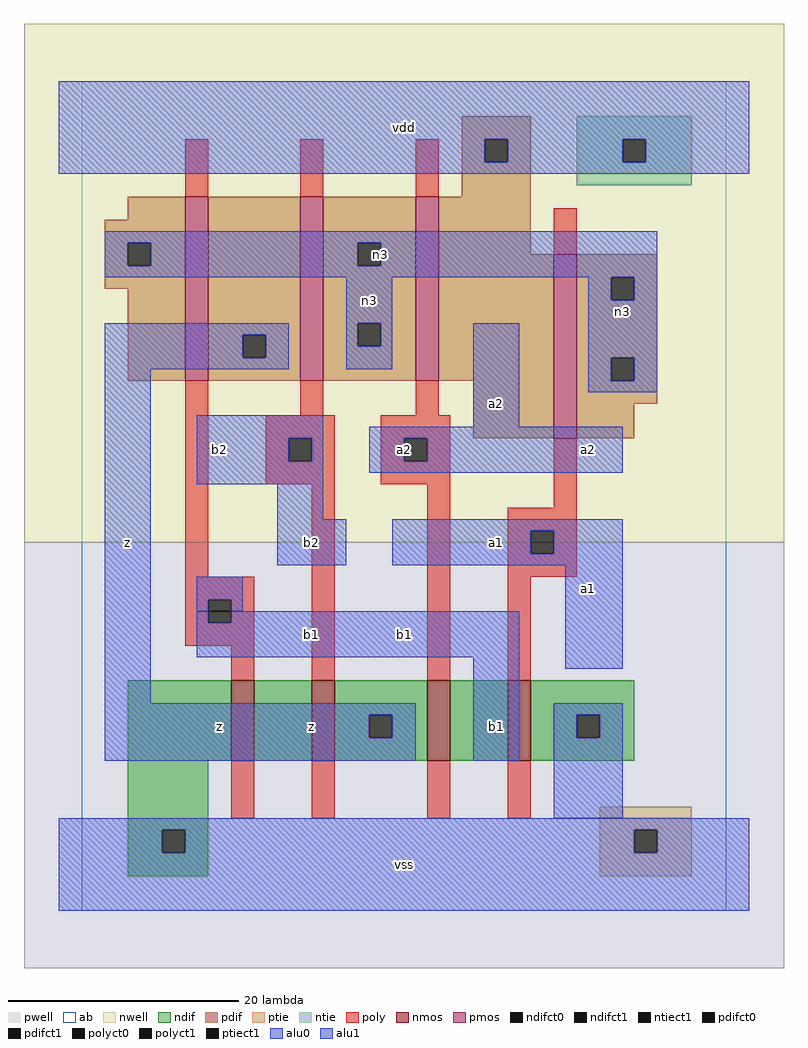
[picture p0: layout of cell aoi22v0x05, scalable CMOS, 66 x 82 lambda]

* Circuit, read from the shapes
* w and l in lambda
.subckt aoi22v0x05 a1 a2 b1 b2 n3 vdd vss z
M1 n1 b1 vss vss nfet w=7 l=2
M2 z b2 n1 vss nfet w=7 l=2
M3 n2 a2 z vss nfet w=7 l=2
M4 vss a1 n2 vss nfet w=7 l=2
M5 z b1 n3 vdd pfet w=16 l=2
M6 n3 b2 z vdd pfet w=16 l=2
M7 vdd a2 n3 vdd pfet w=16 l=2
M8 n3 a1 vdd vdd pfet w=16 l=2
.ends

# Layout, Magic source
magic
tech scmos
<< ab >>
rect 0 0 56 72
<< nwell >>
rect -5 32 61 77
<< pwell >>
rect -5 -5 61 32
<< poly >>
rect 9 62 11 67
rect 19 62 21 67
rect 29 62 31 67
rect 41 57 43 61
rect 9 29 11 46
rect 19 43 21 46
rect 29 43 31 46
rect 16 41 22 43
rect 16 39 18 41
rect 20 39 22 41
rect 16 37 22 39
rect 26 41 32 43
rect 26 39 28 41
rect 30 39 32 41
rect 26 37 32 39
rect 9 27 15 29
rect 9 25 11 27
rect 13 25 15 27
rect 9 23 15 25
rect 13 20 15 23
rect 20 20 22 37
rect 30 20 32 37
rect 41 35 43 41
rect 37 33 43 35
rect 37 31 39 33
rect 41 31 43 33
rect 37 29 43 31
rect 37 20 39 29
rect 13 8 15 13
rect 20 8 22 13
rect 30 8 32 13
rect 37 8 39 13
<< ndif >>
rect 4 13 13 20
rect 15 13 20 20
rect 22 17 30 20
rect 22 15 25 17
rect 27 15 30 17
rect 22 13 30 15
rect 32 13 37 20
rect 39 17 48 20
rect 39 15 43 17
rect 45 15 48 17
rect 39 13 48 15
rect 4 7 11 13
rect 4 5 7 7
rect 9 5 11 7
rect 4 3 11 5
<< pdif >>
rect 33 67 39 69
rect 33 65 35 67
rect 37 65 39 67
rect 33 62 39 65
rect 4 60 9 62
rect 2 58 9 60
rect 2 56 4 58
rect 6 56 9 58
rect 2 54 9 56
rect 4 46 9 54
rect 11 50 19 62
rect 11 48 14 50
rect 16 48 19 50
rect 11 46 19 48
rect 21 58 29 62
rect 21 56 24 58
rect 26 56 29 58
rect 21 51 29 56
rect 21 49 24 51
rect 26 49 29 51
rect 21 46 29 49
rect 31 57 39 62
rect 31 46 41 57
rect 34 41 41 46
rect 43 55 50 57
rect 43 53 46 55
rect 48 53 50 55
rect 43 48 50 53
rect 43 46 46 48
rect 48 46 50 48
rect 43 44 50 46
rect 43 41 48 44
<< alu1 >>
rect -2 67 58 72
rect -2 65 35 67
rect 37 65 47 67
rect 49 65 58 67
rect -2 64 58 65
rect 2 50 18 51
rect 2 48 14 50
rect 16 48 18 50
rect 2 47 18 48
rect 2 18 6 47
rect 10 41 21 43
rect 34 42 38 51
rect 10 39 18 41
rect 20 39 21 41
rect 10 37 21 39
rect 25 41 47 42
rect 25 39 28 41
rect 30 39 47 41
rect 25 38 47 39
rect 17 34 21 37
rect 17 30 23 34
rect 27 33 47 34
rect 27 31 39 33
rect 41 31 47 33
rect 27 30 47 31
rect 10 25 11 26
rect 13 25 38 26
rect 10 22 38 25
rect 2 17 29 18
rect 2 15 25 17
rect 27 15 29 17
rect 2 13 29 15
rect 34 13 38 22
rect 42 21 47 30
rect -2 7 58 8
rect -2 5 7 7
rect 9 5 48 7
rect 50 5 58 7
rect -2 0 58 5
<< ptie >>
rect 45 7 53 9
rect 45 5 48 7
rect 50 5 53 7
rect 45 3 53 5
<< ntie >>
rect 43 67 53 69
rect 43 65 47 67
rect 49 65 53 67
rect 43 63 53 65
<< nmos >>
rect 13 13 15 20
rect 20 13 22 20
rect 30 13 32 20
rect 37 13 39 20
<< pmos >>
rect 9 46 11 62
rect 19 46 21 62
rect 29 46 31 62
rect 41 41 43 57
<< polyct0 >>
rect 11 26 13 27
<< polyct1 >>
rect 18 39 20 41
rect 28 39 30 41
rect 11 25 13 26
rect 39 31 41 33
<< ndifct0 >>
rect 43 15 45 17
<< ndifct1 >>
rect 25 15 27 17
rect 7 5 9 7
<< ntiect1 >>
rect 47 65 49 67
<< ptiect1 >>
rect 48 5 50 7
<< pdifct0 >>
rect 4 56 6 58
rect 24 56 26 58
rect 24 49 26 51
rect 46 53 48 55
rect 46 46 48 48
<< pdifct1 >>
rect 35 65 37 67
rect 14 48 16 50
<< alu0 >>
rect 2 58 50 59
rect 2 56 4 58
rect 6 56 24 58
rect 26 56 50 58
rect 2 55 50 56
rect 23 51 27 55
rect 44 53 46 55
rect 48 53 50 55
rect 23 49 24 51
rect 26 49 27 51
rect 23 47 27 49
rect 44 48 50 53
rect 44 46 46 48
rect 48 46 50 48
rect 44 45 50 46
rect 10 27 14 29
rect 10 26 11 27
rect 13 26 14 27
rect 41 17 47 18
rect 41 15 43 17
rect 45 15 47 17
rect 41 8 47 15
<< labels >>
rlabel alu0 25 53 25 53 6 n3
rlabel alu0 47 52 47 52 6 n3
rlabel alu0 26 57 26 57 6 n3
rlabel alu1 4 32 4 32 6 z
rlabel alu1 20 16 20 16 6 z
rlabel alu1 12 16 12 16 6 z
rlabel alu1 20 24 20 24 6 b1
rlabel alu1 20 32 20 32 6 b2
rlabel alu1 12 40 12 40 6 b2
rlabel alu1 28 4 28 4 6 vss
rlabel alu1 36 16 36 16 6 b1
rlabel alu1 28 24 28 24 6 b1
rlabel alu1 36 32 36 32 6 a1
rlabel alu1 28 40 28 40 6 a2
rlabel alu1 36 44 36 44 6 a2
rlabel alu1 28 68 28 68 6 vdd
rlabel alu1 44 28 44 28 6 a1
rlabel alu1 44 40 44 40 6 a2
<< end >>
